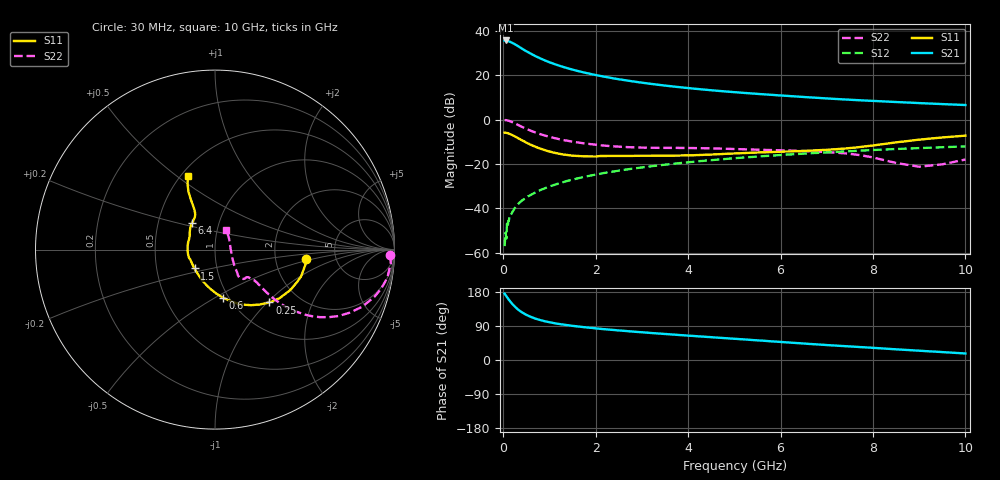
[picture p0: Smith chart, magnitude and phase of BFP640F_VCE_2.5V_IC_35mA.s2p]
! Infineon Technologies  Discrete & RF Semiconductors
! BFP640F
! VCE =  2.5 V,  IC =  35 mA
! Common Emitter S-Parameters:  Apr 2013
# GHz  S  MA  R  50
!  f  S11  S21  S12  S22
! GHz  MAG  ANG  MAG  ANG  MAG  ANG  MAG  ANG
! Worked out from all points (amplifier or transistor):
!   99 points, 30 MHz to 10 GHz, reference 50 ohm
!   highest |S21| = 35.8 dB at 50 MHz (marker M1)
!   |S21| within 3 dB of that: start of sweep to 352 MHz
!   unconditionally stable (mu >= 1): 1.698 GHz to end of sweep
!   at 350 MHz: K = 0.52, MSG = 35.2 dB, |S12| = -37.5 dB
!   at 3.5 GHz: K = 1.06, MAG = 16.4 dB, |S12| = -20.3 dB
!   at 10 GHz: K = 1.04, MAG = 8.1 dB, |S12| = -12.0 dB
!   S11 on the Smith chart (normalised r, x): 30 MHz: 3.01, -0.44; 250 MHz: 1.43, -1.03; 600 MHz: 0.94, -0.54; 1.5 GHz: 0.78, -0.17; 6.4 GHz: 0.74, +0.23; 10 GHz: 0.54, +0.55
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0.03  0.51 -6.1  61.2 175.2  0.0014 124.4  0.9748 -1.9
0.05  0.5098 -10.0  61.68 171.7  0.0028 98.2  0.9829 -4.6
0.1  0.4968 -19.4  59.99 162.8  0.0041 76.2  0.9637 -10.9
0.15  0.474 -28.9  57.39 154.7  0.0067 77.0  0.9255 -16.6
0.2  0.4497 -37.1  54.18 147.4  0.0083 81.8  0.8799 -21.2
0.25  0.4226 -44.2  50.7 141.0  0.0101 77.7  0.8301 -25.0
0.3  0.3942 -50.9  47.24 135.4  0.0118 75.9  0.7827 -28.2
0.4  0.346 -62.5  40.73 126.2  0.0149 74.2  0.6945 -32.8
0.5  0.3052 -72.0  35.27 119.1  0.0178 73.1  0.623 -35.7
0.6  0.2712 -80.8  30.84 113.6  0.0202 73.6  0.5626 -37.6
0.7  0.2447 -88.4  27.25 109.1  0.023 73.7  0.5145 -38.8
0.9  0.2059 -102.4  21.91 102.3  0.0283 73.3  0.44 -39.8
1.2  0.1718 -120.9  16.77 95.2  0.0365 72.8  0.3669 -39.6
1.5  0.1546 -137.2  13.54 90.1  0.0444 71.8  0.3206 -38.7
1.7  0.1504 -146.6  12 87.3  0.0499 71.1  0.2982 -38.1
2.4  0.1524 -171.2  8.559 79.1  0.0683 68.1  0.2506 -39.2
3.4  0.1549 165.4  6.081 69.5  0.0942 63.3  0.2318 -42.6
5.1  0.1749 143.1  4.122 55.2  0.1376 54.1  0.217 -47.7
6.4  0.1956 130.6  3.319 44.4  0.1694 46.6  0.198 -48.7
6.7  0.2024 126.5  3.169 41.8  0.1764 44.8  0.1924 -48.3
8.5  0.3084 115.8  2.515 28.2  0.2187 34.3  0.1059 -25.3
10  0.4378 110.2  2.15 17.2  0.2506 25.4  0.1265 59.7
